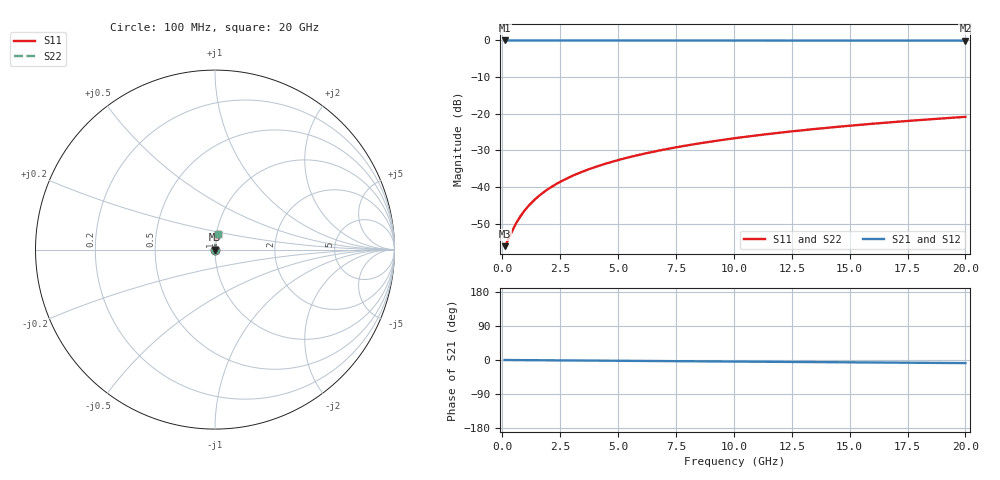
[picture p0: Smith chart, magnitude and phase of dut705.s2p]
! Touchstone file exported from HFSS 2026.1.0
!  File:  C:/ffzhzh/LocalFiles/Ansys_Project_Files/temp_train_TSV_705_1783181879_43440.aedt
!  Generated:  12:20:09 AM Jul  5, 2026
!  Design:  TSV
!  Project:  temp_train_TSV_705_1783181879_43440
! Variables:
!  h_bsmrdl = 2um
!  h_ox = 20um
!  h_rdl = 5um
!  h_sub = 61.05um
!  h_tmrdl = 5um
!  h_tsv = 61.05um
!  h_via = 3um
!  l_bsmrdl = 300um
!  l_sub = 404.38um
!  l_tmrdl = 200um
!  m_sub = 200um
!  pitch = 32.12um
!  r_tsv = 2.19um
!  s_tmrdl = 10um
!  w_bsmrdl = 18um
!  w_sub = 500um
!  w_tmrdl = 12um
!  x_tsv_center1 = 206um
!  x_tsv_center2 = 524um
!  x_tsv_center3 = 736um
!  x_tsv_center4 = 1054um
!  x_tsv_center5 = 1266um
!  x_tsv_center6 = 1584um
# GHz S MA R 50.000000
! Terminal data exported
! Port[1] = TSV1_1_T1
! Port[2] = TSV1_1_T2
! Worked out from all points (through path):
!   200 points, 100 MHz to 20 GHz, reference 50 ohm
!   highest |S21| = -0.01 dB at 100 MHz (marker M1); lowest = -0.1 dB at 20 GHz (marker M2)
!   group delay of S21, straight-line fit = 1.13 ps
!   lowest |S11| = -56.2 dB at 100 MHz (marker M3), VSWR 1.00, Z = 50.1 + j0.0473 ohm
!   |S11| at or under -10 dB: start of sweep to end of sweep
!   |S22| runs from -56.2 to -20.9 dB; largest |S21 - S12| = 3.2e-15
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0.1  0.001555 17.7  0.9985 -0.0  0.9985 -0.0  0.001555 17.7
! Gamma 0 0 0 0
! Port Impedance 50 0 50 0
0.2  0.00176 32.4  0.9985 -0.1  0.9985 -0.1  0.00176 32.4
0.5  0.002791 57.3  0.9985 -0.2  0.9985 -0.2  0.002791 57.3
0.7  0.003617 65.0  0.9985 -0.3  0.9985 -0.3  0.003617 65.0
0.8  0.004046 67.6  0.9985 -0.3  0.9985 -0.3  0.004046 67.6
1  0.004922 71.5  0.9985 -0.4  0.9985 -0.4  0.004922 71.5
1.2  0.005813 74.2  0.9984 -0.5  0.9984 -0.5  0.005813 74.2
1.4  0.006713 76.1  0.9984 -0.6  0.9984 -0.6  0.006713 76.1
1.8  0.00853 78.7  0.9984 -0.7  0.9984 -0.7  0.00853 78.7
2.3  0.01082 80.6  0.9984 -1.0  0.9984 -1.0  0.01082 80.6
2.9  0.01358 82.0  0.9983 -1.2  0.9983 -1.2  0.01358 82.0
3.5  0.01634 82.8  0.9982 -1.5  0.9982 -1.5  0.01634 82.8
4.2  0.01956 83.3  0.9981 -1.7  0.9981 -1.7  0.01956 83.3
5  0.02325 83.6  0.998 -2.1  0.998 -2.1  0.02325 83.6
5.9  0.02738 83.7  0.9978 -2.4  0.9978 -2.4  0.02738 83.7
6.8  0.03151 83.7  0.9976 -2.8  0.9976 -2.8  0.03151 83.7
8.3  0.03835 83.5  0.9972 -3.4  0.9972 -3.4  0.03835 83.5
10.1  0.04652 83.0  0.9966 -4.2  0.9966 -4.2  0.04652 83.0
11.7  0.05374 82.5  0.9961 -4.8  0.9961 -4.8  0.05374 82.5
13.4  0.06135 82.0  0.9955 -5.5  0.9955 -5.5  0.06135 82.0
16.7  0.07601 80.9  0.9941 -6.8  0.9941 -6.8  0.07601 80.9
20  0.0905 79.7  0.9925 -8.2  0.9925 -8.2  0.0905 79.7
